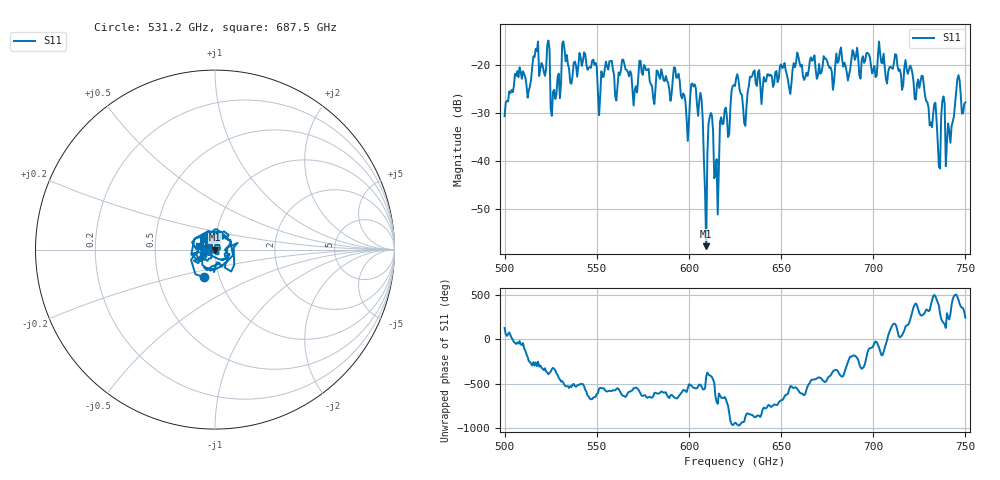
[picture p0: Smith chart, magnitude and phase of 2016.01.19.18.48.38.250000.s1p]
!Created with skrf (http://scikit-rf.org).
# GHz S RI R 50.0
!freq ReS11 ImS11
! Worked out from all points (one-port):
!   401 points, 500 GHz to 750 GHz, reference 50 ohm
!   lowest |S11| = -57.6 dB at 609.4 GHz (marker M1), VSWR 1.00, Z = 50.1 - j0.115 ohm
!   |S11| at or under -10 dB: start of sweep to end of sweep
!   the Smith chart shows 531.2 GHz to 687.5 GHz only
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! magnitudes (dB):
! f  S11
! 500 GHz  -30.6
! 506.9 GHz  -21.3
! 513.1 GHz  -25.3
! 516.9 GHz  -16.6
! 523.1 GHz  -16.0
! 526.2 GHz  -25.6
! 531.2 GHz  -15.6
! 551.9 GHz  -26.3
! 562.5 GHz  -22.1
! 593.8 GHz  -22.6
! 598.8 GHz  -31.2
! 602.5 GHz  -24.5
! 606.2 GHz  -25.8
! 609.4 GHz  -57.6
! 611.9 GHz  -30.0
! 615 GHz  -39.6
! 618.1 GHz  -32.3
! 625 GHz  -24.4
! 630 GHz  -32.1
! 634.4 GHz  -22.3
! 656.2 GHz  -20.9
! 687.5 GHz  -20.9
! 718.8 GHz  -21.9
! 735.6 GHz  -41.2
! 738.1 GHz  -26.5
! 740.6 GHz  -32.2
! 746.2 GHz  -22.1
! 750 GHz  -27.8
